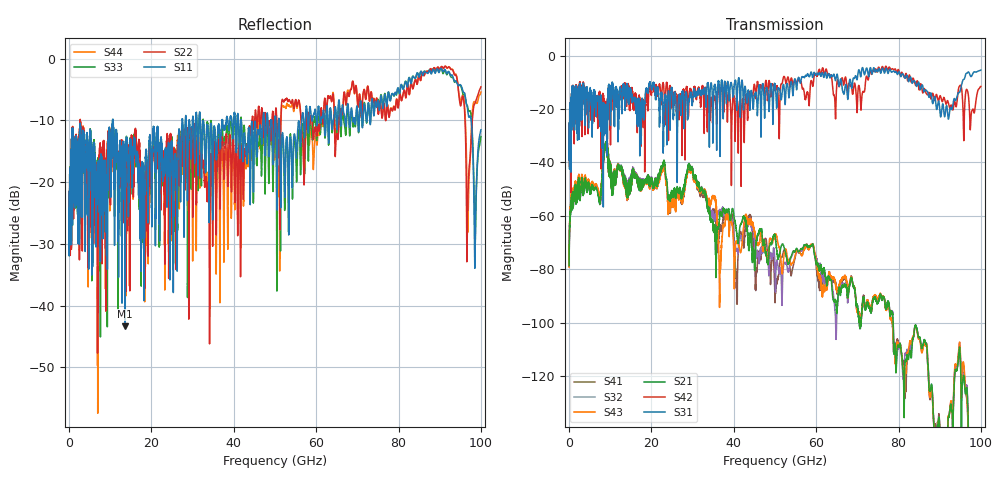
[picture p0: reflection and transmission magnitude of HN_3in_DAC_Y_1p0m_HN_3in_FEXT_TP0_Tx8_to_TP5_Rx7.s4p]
# GHz S RI R 45
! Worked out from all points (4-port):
!   4000 points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, 25 MHz to 100 GHz, reference 45 ohm
!   strongest paths, dB at 25 MHz, 25.02 GHz, 50.02 GHz, 75.03 GHz, 100 GHz:
!     S31: -38.9, -12.8, -11.0, -5.9, -5.4
!     S42: -38.9, -15.9, -12.9, -4.7, -11.5
!     S21: -78.7, -51.7, -67.2, -92.2, -177.1
!     S43: -79.2, -54.9, -66.9, -90.7, -177.4
!     S32: -77.9, -53.0, -80.5, -92.1, -183.0
!     S41: -78.6, -54.3, -92.5, -90.8, -178.0
!   lowest |S11| = -43.4 dB at 13.65 GHz (marker M1), VSWR 1.01, Z = 45.3 - j0.535 ohm
!   |S11| at or under -10 dB: start of sweep to 10.57 GHz; 10.66 GHz to 27.45 GHz (16.79 GHz wide, 88.1 % of centre); 51.03 GHz to 56.5 GHz (5.47 GHz wide, 10.2 % of centre)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
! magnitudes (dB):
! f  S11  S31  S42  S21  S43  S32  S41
! 25 MHz  -24.3  -38.9  -38.9  -78.7  -79.2  -77.9  -78.6
! 8.9 GHz  -18.8  -18.4  -19.6  -34.0  -34.2  -34.2  -34.1
! 13.65 GHz  -43.4  -16.2  -10.9  -46.1  -47.0  -45.6  -46.6
! 29.43 GHz  -11.7  -14.1  -12.3  -42.9  -43.8  -42.8  -43.4
! 40.67 GHz  -14.5  -16.8  -16.2  -65.7  -69.7  -72.6  -84.8
! 43.73 GHz  -11.8  -15.5  -13.9  -73.1  -61.9  -62.3  -61.2
! 100 GHz  -11.5  -5.4  -11.5  -177.1  -177.4  -183.0  -178.0
